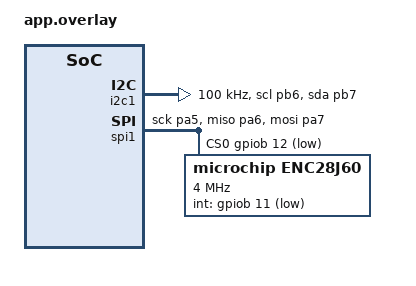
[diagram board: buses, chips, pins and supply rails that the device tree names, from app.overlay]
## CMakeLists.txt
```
cmake_minimum_required(VERSION 3.20.0)

find_package(Zephyr REQUIRED HINTS $ENV{ZEPHYR_BASE})
project(eco_connect_gateway)

target_include_directories(app PRIVATE include)

target_sources(app PRIVATE
	src/main.c
	src/bme280_sensor.c
	src/enc28j60_spi.c
	src/http_server.c
)
```

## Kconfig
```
menu "EcoConnect Application"

module = APP_MAIN
module-str = app_main
source "subsys/logging/Kconfig.template.log_config"

module = BME280_MOD
module-str = bme280_sensor
source "subsys/logging/Kconfig.template.log_config"

module = ENC_SPI_MOD
module-str = enc28j60_spi
source "subsys/logging/Kconfig.template.log_config"

module = HTTP_SRV_MOD
module-str = http_srv
source "subsys/logging/Kconfig.template.log_config"

endmenu

source "Kconfig.zephyr"
```

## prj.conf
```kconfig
# ==============================================================================
# EcoConnect IoT Gateway - Week 2 Configuration (Logging + I2C + SPI + TCP/IP)
# ==============================================================================

# General Kernel & UART Console
CONFIG_PRINTK=y
CONFIG_EARLY_CONSOLE=y
CONFIG_UART_CONSOLE=y

# G7: Zephyr Logging Subsystem over UART with Per-Module Levels
CONFIG_LOG=y
CONFIG_LOG_MODE_DEFERRED=y
CONFIG_LOG_DEFAULT_LEVEL=3
CONFIG_APP_MAIN_LOG_LEVEL_INF=y
CONFIG_BME280_MOD_LOG_LEVEL_INF=y
CONFIG_ENC_SPI_MOD_LOG_LEVEL_INF=y
CONFIG_HTTP_SRV_MOD_LOG_LEVEL_DBG=y

# Protocol Drivers (I2C + SPI + RNG for TCP/DHCP)
CONFIG_GPIO=y
CONFIG_I2C=y
CONFIG_SPI=y
CONFIG_TEST_RANDOM_GENERATOR=y

# M3: ENC28J60 Zephyr Ethernet Driver
CONFIG_NETWORKING=y
CONFIG_NET_L2_ETHERNET=y
CONFIG_ETH_DRIVER=y
CONFIG_ETH_ENC28J60=y
CONFIG_ETH_ENC28J60_RX_THREAD_STACK_SIZE=2048
CONFIG_NET_MGMT=y
CONFIG_NET_MGMT_EVENT=y
CONFIG_SYSTEM_WORKQUEUE_STACK_SIZE=2048

# M4: TCP/IP Stack + DHCPv4 + BSD Sockets + Net Shell
CONFIG_NET_IPV4=y
CONFIG_NET_DHCPV4=y
CONFIG_NET_TCP=y
CONFIG_NET_SOCKETS=y
CONFIG_NET_TX_STACK_SIZE=2048
CONFIG_NET_RX_STACK_SIZE=2048
CONFIG_NET_PKT_RX_COUNT=8
CONFIG_NET_PKT_TX_COUNT=8
CONFIG_NET_BUF_RX_COUNT=16
CONFIG_NET_BUF_TX_COUNT=16

# Interactive Console Shell & Network Commands (net iface, net ping)
CONFIG_SHELL=y
CONFIG_NET_SHELL=y

# Main Stack Size
CONFIG_MAIN_STACK_SIZE=4096
```

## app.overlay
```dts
/*
 * EcoConnect IoT Gateway - Devicetree Hardware Overlay
 * Target: STM32F407G-DISC1 (MB997)
 *
 * Pin-Choice Notes (Task 24.DT):
 *  - I2C1: PB6 (SCL), PB7 (SDA) -> Header P1, AF4, standard 100 kHz for BMP/BME280.
 *  - SPI1: PA5 (SCK), PA6 (MISO), PA7 (MOSI) -> Header P1, AF5, 4 MHz breadboard-safe.
 *  - ENC28J60 CS:  PB12 (GPIO_ACTIVE_LOW) -> Header P2, free GPIO next to SPI2/I2C2 area.
 *  - ENC28J60 INT: PB11 (GPIO_ACTIVE_LOW) -> Header P1/P2, free EXTI11 line for RX IRQ.
 */

/* Enable I2C1 Bus on PB6 (SCL) and PB7 (SDA) */
&i2c1 {
	status = "okay";
	pinctrl-0 = <&i2c1_scl_pb6 &i2c1_sda_pb7>;
	pinctrl-names = "default";
	clock-frequency = <I2C_BITRATE_STANDARD>;
};

/* Enable SPI1 Bus on PA5 (SCK), PA6 (MISO), PA7 (MOSI) with CS on PB12 */
&spi1 {
	status = "okay";
	pinctrl-0 = <&spi1_sck_pa5 &spi1_miso_pa6 &spi1_mosi_pa7>;
	pinctrl-names = "default";
	cs-gpios = <&gpiob 12 GPIO_ACTIVE_LOW>;

	enc28j60: enc28j60@0 {
		compatible = "microchip,enc28j60";
		reg = <0>;
		spi-max-frequency = <4000000>;
		int-gpios = <&gpiob 11 GPIO_ACTIVE_LOW>;
		local-mac-address = [ 02 00 00 11 22 33 ];
		status = "okay";
	};
};
```

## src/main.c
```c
/*
 * EcoConnect IoT Gateway - Week 2 Stage 2 (ENC28J60 Zephyr Driver + TCP/IP + HTTP)
 * Target: STM32F407G-DISC1 (ARM Cortex-M4 @ 168 MHz)
 */

#include <zephyr/kernel.h>
#include <zephyr/device.h>
#include <zephyr/drivers/gpio.h>
#include <zephyr/logging/log.h>
#include <zephyr/net/net_if.h>
#include <zephyr/net/net_core.h>
#include <zephyr/net/net_context.h>
#include <zephyr/net/net_mgmt.h>
#include <zephyr/net/dhcpv4.h>

#include "bme280_sensor.h"
#if !defined(CONFIG_ETH_ENC28J60)
#include "enc28j60_spi.h"
#endif
#include "http_server.h"

LOG_MODULE_REGISTER(app_main, CONFIG_APP_MAIN_LOG_LEVEL);

#define SAMPLE_PERIOD_MS 2000

static const struct gpio_dt_spec led_green  = GPIO_DT_SPEC_GET(DT_NODELABEL(green_led_4), gpios);
static const struct gpio_dt_spec led_orange = GPIO_DT_SPEC_GET(DT_NODELABEL(orange_led_3), gpios);
static const struct gpio_dt_spec led_red    = GPIO_DT_SPEC_GET(DT_NODELABEL(red_led_5), gpios);
static const struct gpio_dt_spec led_blue   = GPIO_DT_SPEC_GET(DT_NODELABEL(blue_led_6), gpios);

static struct net_mgmt_event_callback mgmt_cb;

static void net_event_handler(struct net_mgmt_event_callback *cb,
			      uint64_t mgmt_event, struct net_if *iface)
{
	ARG_UNUSED(cb);

	if (mgmt_event == NET_EVENT_IF_UP) {
		LOG_INF("Ethernet interface UP (Carrier detected)");
		gpio_pin_set_dt(&led_orange, 1);
		return;
	}

	if (mgmt_event == NET_EVENT_IF_DOWN) {
		LOG_WRN("Ethernet interface DOWN (Carrier lost)");
		gpio_pin_set_dt(&led_orange, 0);
		return;
	}

	if (mgmt_event == NET_EVENT_IPV4_ADDR_ADD) {
		char buf[NET_IPV4_ADDR_LEN];

		for (int i = 0; i < NET_IF_MAX_IPV4_ADDR; i++) {
			struct net_if_addr *if_addr = &iface->config.ip.ipv4->unicast[i].ipv4;

			if (if_addr->addr_type != NET_ADDR_DHCP) {
				continue;
			}

			LOG_INF("DHCPv4 IPv4 Address: %s",
				net_addr_ntop(AF_INET, &if_addr->address.in_addr,
					      buf, sizeof(buf)));
			LOG_INF("DHCPv4 Netmask:      %s",
				net_addr_ntop(AF_INET,
					      &iface->config.ip.ipv4->unicast[i].netmask,
					      buf, sizeof(buf)));
			LOG_INF("DHCPv4 Gateway:      %s",
				net_addr_ntop(AF_INET, &iface->config.ip.ipv4->gw,
					      buf, sizeof(buf)));
		}
	}
}

int main(void)
{
	gpio_pin_configure_dt(&led_green, GPIO_OUTPUT_INACTIVE);
	gpio_pin_configure_dt(&led_orange, GPIO_OUTPUT_INACTIVE);
	gpio_pin_configure_dt(&led_red, GPIO_OUTPUT_INACTIVE);
	gpio_pin_configure_dt(&led_blue, GPIO_OUTPUT_INACTIVE);

	const struct device *const i2c_dev = DEVICE_DT_GET(DT_NODELABEL(i2c1));

	LOG_INF("=== EcoConnect Gateway Booting (STM32F407G-DISC1) ===");

#if !defined(CONFIG_ETH_ENC28J60)
	const struct device *const spi_dev = DEVICE_DT_GET(DT_NODELABEL(spi1));
	uint8_t enc_rev = 0;
	bool enc_ok = (enc28j60_spi_probe_version(spi_dev, &enc_rev) == 0);
	gpio_pin_set_dt(&led_orange, enc_ok ? 1 : 0);
#else
	/* Zephyr's eth_enc28j60 driver owns SPI1 and initializes ENC28J60 at boot */
	net_mgmt_init_event_callback(&mgmt_cb, net_event_handler,
				     NET_EVENT_IF_UP | NET_EVENT_IF_DOWN |
				     NET_EVENT_IPV4_ADDR_ADD);
	net_mgmt_add_event_callback(&mgmt_cb);

	struct net_if *iface = net_if_get_default();
	if (iface != NULL) {
		if (net_if_is_carrier_ok(iface)) {
			LOG_INF("ENC28J60 Link UP at boot");
			gpio_pin_set_dt(&led_orange, 1);
		} else {
			LOG_INF("ENC28J60 initialized, waiting for Ethernet link...");
		}
		net_dhcpv4_start(iface);
	} else {
		LOG_ERR("No default network interface found!");
		gpio_pin_set_dt(&led_red, 1);
	}

	http_server_start();
#endif

	uint8_t bme_id = 0;
	bool bme_ok = (bme280_sensor_init(i2c_dev, &bme_id) == 0);
	gpio_pin_set_dt(&led_blue, bme_ok ? 1 : 0);

	while (1) {
		gpio_pin_toggle_dt(&led_green);

		if (bme_ok) {
			int32_t temp_c_x100 = 0;
			if (bme280_sensor_read_temp(i2c_dev, &temp_c_x100) == 0) {
				http_server_set_temp_x100(temp_c_x100);
			}
		}

		k_msleep(SAMPLE_PERIOD_MS);
	}

	return 0;
}
```

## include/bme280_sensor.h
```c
#ifndef BME280_SENSOR_H
#define BME280_SENSOR_H

#include <stdint.h>
#include <zephyr/device.h>

/**
 * @brief Initialize BME280 on the given I2C bus (auto-detects 0x76 or 0x77),
 *        verifies Chip ID, reads factory temperature calibration trims, and
 *        places the sensor in Normal sampling mode.
 *
 * @param i2c_dev Pointer to ready Zephyr I2C device.
 * @param chip_id_out Optional output pointer for the detected Chip ID (0x60).
 * @return 0 on success, negative errno on failure.
 */
int bme280_sensor_init(const struct device *i2c_dev, uint8_t *chip_id_out);

/**
 * @brief Read and compensate ambient temperature from BME280.
 *
 * @param i2c_dev Pointer to ready Zephyr I2C device.
 * @param temp_c_x100 Output temperature in hundredths of deg C (e.g. 2435 = 24.35 C).
 * @return 0 on success, negative errno on failure.
 */
int bme280_sensor_read_temp(const struct device *i2c_dev, int32_t *temp_c_x100);

#endif /* BME280_SENSOR_H */
```

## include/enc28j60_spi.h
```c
#ifndef ENC28J60_SPI_H
#define ENC28J60_SPI_H

#include <stdint.h>
#include <zephyr/device.h>

/**
 * @brief Soft-reset ENC28J60 over SPI1, switch to Bank 3, and read silicon
 *        revision ID (EREVID register 0x12).
 *
 * @param spi_dev Pointer to ready Zephyr SPI1 device.
 * @param rev_id_out Output pointer for EREVID byte.
 * @return 0 on valid revision ID (0x01..0xFE), negative errno on failure.
 */
int enc28j60_spi_probe_version(const struct device *spi_dev, uint8_t *rev_id_out);

#endif /* ENC28J60_SPI_H */
```

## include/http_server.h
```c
#ifndef HTTP_SERVER_H
#define HTTP_SERVER_H

#include <stdint.h>

/**
 * @brief Update the latest temperature (in hundredths of deg C) displayed on
 *        the static EcoConnect status page.
 */
void http_server_set_temp_x100(int32_t temp_c_x100);

/**
 * @brief Start the lightweight TCP/HTTP static web server on port 80.
 */
void http_server_start(void);

#endif /* HTTP_SERVER_H */
```

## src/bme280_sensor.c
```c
#include "bme280_sensor.h"

#include <errno.h>
#include <zephyr/drivers/i2c.h>
#include <zephyr/kernel.h>
#include <zephyr/logging/log.h>

LOG_MODULE_REGISTER(bme280_sensor, CONFIG_BME280_MOD_LOG_LEVEL);

#define BME280_ADDR_PRIMARY 0x76
#define BME280_ADDR_SECONDARY 0x77
#define BME280_CHIP_ID_BME280 0x60
#define BME280_CHIP_ID_BMP280 0x58

#define BME280_REG_DIG_T1 0x88
#define BME280_REG_CHIP_ID 0xD0
#define BME280_REG_CTRL_MEAS 0xF4
#define BME280_REG_TEMP_MSB 0xFA

/* osrs_t = 001 (1x), osrs_p = 001 (1x), mode = 11 (Normal) */
#define BME280_CTRL_MEAS_TEMP_NORMAL 0x27

struct bme280_calib_t {
  uint16_t dig_T1;
  int16_t dig_T2;
  int16_t dig_T3;
};

static uint8_t g_active_addr = BME280_ADDR_PRIMARY;
static struct bme280_calib_t g_calib;

int bme280_sensor_init(const struct device *i2c_dev, uint8_t *chip_id_out) {
  uint8_t reg = BME280_REG_CHIP_ID;
  uint8_t id = 0;
  int ret;

  if (!device_is_ready(i2c_dev)) {
    LOG_ERR("I2C1 device not ready");
    return -ENODEV;
  }

  ret = i2c_write_read(i2c_dev, BME280_ADDR_PRIMARY, &reg, 1, &id, 1);
  if (ret == 0) {
    g_active_addr = BME280_ADDR_PRIMARY;
  } else {
    ret = i2c_write_read(i2c_dev, BME280_ADDR_SECONDARY, &reg, 1, &id, 1);
    if (ret != 0) {
      LOG_ERR("BME280 not found on 0x76 or 0x77 (err=%d)", ret);
      return ret;
    }
    g_active_addr = BME280_ADDR_SECONDARY;
  }

  if (chip_id_out != NULL) {
    *chip_id_out = id;
  }

  if (id != BME280_CHIP_ID_BME280 && id != BME280_CHIP_ID_BMP280) {
    LOG_WRN("Unexpected chip ID 0x%02X at 0x%02X", id, g_active_addr);
    return -EINVAL;
  }

  /* Read 6 bytes of factory temperature calibration (dig_T1, dig_T2, dig_T3) */
  uint8_t trim_reg = BME280_REG_DIG_T1;
  uint8_t trim[6] = {0};

  ret =
      i2c_write_read(i2c_dev, g_active_addr, &trim_reg, 1, trim, sizeof(trim));
  if (ret != 0) {
    LOG_ERR("Failed to read calibration trims (err=%d)", ret);
    return ret;
  }

  g_calib.dig_T1 = (uint16_t)(((uint16_t)trim[1] << 8) | trim[0]);
  g_calib.dig_T2 = (int16_t)(((uint16_t)trim[3] << 8) | trim[2]);
  g_calib.dig_T3 = (int16_t)(((uint16_t)trim[5] << 8) | trim[4]);

  /* Soft reset sensor to ensure clean register state */
  (void)i2c_reg_write_byte(i2c_dev, g_active_addr, 0xE0, 0xB6);
  k_msleep(10);

  /* Configure standby 0.5ms / IIR off, then Normal mode (0xF4 = 0x27) */
  (void)i2c_reg_write_byte(i2c_dev, g_active_addr, 0xF5, 0x00);
  ret = i2c_reg_write_byte(i2c_dev, g_active_addr, BME280_REG_CTRL_MEAS,
                           BME280_CTRL_MEAS_TEMP_NORMAL);
  if (ret != 0) {
    LOG_ERR("Failed to configure ctrl_meas (err=%d)", ret);
    return ret;
  }

  uint8_t ctrl_imm = 0;
  (void)i2c_reg_read_byte(i2c_dev, g_active_addr, BME280_REG_CTRL_MEAS,
                          &ctrl_imm);

  k_msleep(50); /* Allow first Normal-mode ADC conversion to complete */

  uint8_t ctrl_rb = 0;
  uint8_t stat_rb = 0;
  (void)i2c_reg_read_byte(i2c_dev, g_active_addr, BME280_REG_CTRL_MEAS,
                          &ctrl_rb);
  (void)i2c_reg_read_byte(i2c_dev, g_active_addr, 0xF3, &stat_rb);

  LOG_INF("BMP/BME280 init @0x%02X (ID:0x%02X, imm:0x%02X, after50ms:0x%02X, "
          "stat:0x%02X)",
          g_active_addr, id, ctrl_imm, ctrl_rb, stat_rb);
  LOG_DBG("Trims: T1=%u, T2=%d, T3=%d", g_calib.dig_T1, g_calib.dig_T2,
          g_calib.dig_T3);
  return 0;
}

int bme280_sensor_read_temp(const struct device *i2c_dev,
                            int32_t *temp_c_x100) {
  uint8_t reg = BME280_REG_TEMP_MSB;
  uint8_t raw[3] = {0};
  int ret;

  if (temp_c_x100 == NULL) {
    return -EINVAL;
  }

  ret = i2c_write_read(i2c_dev, g_active_addr, &reg, 1, raw, sizeof(raw));
  if (ret != 0) {
    LOG_ERR("I2C temp read failed (err=%d)", ret);
    return ret;
  }

  /* 20-bit unsigned raw ADC temperature */
  int32_t adc_t =
      ((int32_t)raw[0] << 12) | ((int32_t)raw[1] << 4) | ((int32_t)raw[2] >> 4);

  /* Bosch BME280 datasheet 32-bit integer compensation formula */
  int32_t var1 = ((((adc_t >> 3) - ((int32_t)g_calib.dig_T1 << 1))) *
                  ((int32_t)g_calib.dig_T2)) >>
                 11;
  int32_t var2 = (((((adc_t >> 4) - ((int32_t)g_calib.dig_T1)) *
                    ((adc_t >> 4) - ((int32_t)g_calib.dig_T1))) >>
                   12) *
                  ((int32_t)g_calib.dig_T3)) >>
                 14;
  int32_t t_fine = var1 + var2;
  int32_t temp = (t_fine * 5 + 128) >> 8;

  *temp_c_x100 = temp;
  LOG_INF("Temperature: %d.%02d C (raw_adc=0x%05X)", temp / 100,
          (temp < 0 ? -temp : temp) % 100, (uint32_t)adc_t);
  return 0;
}
```

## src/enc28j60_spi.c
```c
#include "enc28j60_spi.h"

#include <zephyr/kernel.h>
#include <zephyr/drivers/gpio.h>
#include <zephyr/drivers/spi.h>
#include <zephyr/logging/log.h>

LOG_MODULE_REGISTER(enc28j60_spi, CONFIG_ENC_SPI_MOD_LOG_LEVEL);

#define ENC_SOFT_RESET     0xFF
#define ENC_CMD_BFS        0x80  /* Bit Field Set: 100xxxxx */
#define ENC_CMD_RCR        0x00  /* Read Control Register: 000xxxxx */
#define ENC_REG_ECON1      0x1F  /* Control Register 1 (common to all banks) */
#define ENC_REG_EREVID     0x12  /* Silicon Revision ID in Bank 3 */

static const struct gpio_dt_spec enc_cs = {
	.port = DEVICE_DT_GET(DT_NODELABEL(gpiob)),
	.pin = 12,
	.dt_flags = GPIO_ACTIVE_LOW
};

static const struct spi_config spi_cfg = {
	.frequency = 1000000, /* 1 MHz for reliable breadboard signal integrity */
	.operation = SPI_OP_MODE_MASTER | SPI_WORD_SET(8) | SPI_TRANSFER_MSB,
	.slave = 0,
};

int enc28j60_spi_probe_version(const struct device *spi_dev, uint8_t *rev_id_out)
{
	uint8_t tx_buf[2];
	uint8_t rx_buf[2];
	struct spi_buf tx_sbuf = { .buf = tx_buf, .len = 1 };
	struct spi_buf rx_sbuf = { .buf = rx_buf, .len = 2 };
	struct spi_buf_set tx_set = { .buffers = &tx_sbuf, .count = 1 };
	struct spi_buf_set rx_set = { .buffers = &rx_sbuf, .count = 1 };
	int ret;

	if (!device_is_ready(spi_dev) || !gpio_is_ready_dt(&enc_cs)) {
		LOG_ERR("SPI1 or CS GPIO not ready");
		return -ENODEV;
	}

	gpio_pin_configure_dt(&enc_cs, GPIO_OUTPUT_INACTIVE);
	k_msleep(50); /* Allow ENC28J60 25 MHz crystal and VCAP to stabilize after boot */

	/* 1. Soft Reset (0xFF) */
	tx_buf[0] = ENC_SOFT_RESET;
	tx_sbuf.len = 1;
	gpio_pin_set_dt(&enc_cs, 1);
	ret = spi_write(spi_dev, &spi_cfg, &tx_set);
	gpio_pin_set_dt(&enc_cs, 0);
	if (ret != 0) {
		LOG_ERR("SPI soft reset failed (err=%d)", ret);
		return ret;
	}
	LOG_DBG("Sent ENC28J60 Soft Reset (0xFF), waiting 2 ms for OST");
	k_msleep(2);

	/* 2. Select Bank 3 via ECON1[1:0] = 0b11 */
	tx_buf[0] = (uint8_t)(ENC_CMD_BFS | ENC_REG_ECON1);
	tx_buf[1] = 0x03;
	tx_sbuf.len = 2;
	gpio_pin_set_dt(&enc_cs, 1);
	ret = spi_write(spi_dev, &spi_cfg, &tx_set);
	gpio_pin_set_dt(&enc_cs, 0);
	if (ret != 0) {
		LOG_ERR("SPI Bank 3 select failed (err=%d)", ret);
		return ret;
	}
	LOG_DBG("Selected Bank 3 via ECON1 BFS (0x%02X 0x03)", tx_buf[0]);

	/* 3. Read EREVID (0x12 in Bank 3) */
	tx_buf[0] = (uint8_t)(ENC_CMD_RCR | ENC_REG_EREVID);
	tx_buf[1] = 0x00;
	tx_sbuf.len = 2;
	rx_buf[0] = 0;
	rx_buf[1] = 0;

	gpio_pin_set_dt(&enc_cs, 1);
	ret = spi_transceive(spi_dev, &spi_cfg, &tx_set, &rx_set);
	gpio_pin_set_dt(&enc_cs, 0);
	if (ret != 0) {
		LOG_ERR("SPI EREVID read failed (err=%d)", ret);
		return ret;
	}

	uint8_t rev = rx_buf[1];
	LOG_DBG("SPI RX bytes: [0]=0x%02X, [1]=0x%02X", rx_buf[0], rx_buf[1]);

	if (rev == 0x00 || rev == 0xFF) {
		LOG_ERR("Invalid ENC28J60 EREVID=0x%02X (check MISO/CS wiring)", rev);
		return -EIO;
	}

	if (rev_id_out != NULL) {
		*rev_id_out = rev;
	}

	LOG_INF("ENC28J60 Silicon Rev ID (EREVID): 0x%02X", rev);
	return 0;
}
```

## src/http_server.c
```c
#include "http_server.h"

#include <stdio.h>
#include <string.h>
#include <zephyr/kernel.h>
#include <zephyr/logging/log.h>
#include <zephyr/net/socket.h>

LOG_MODULE_REGISTER(http_srv, CONFIG_HTTP_SRV_MOD_LOG_LEVEL);

#define HTTP_PORT        80
#define HTTP_STACK_SIZE  4096
#define HTTP_PRIORITY    7

static volatile int32_t g_latest_temp_x100 = 0;

void http_server_set_temp_x100(int32_t temp_c_x100)
{
	g_latest_temp_x100 = temp_c_x100;
}

static void http_server_thread(void *p1, void *p2, void *p3)
{
	ARG_UNUSED(p1);
	ARG_UNUSED(p2);
	ARG_UNUSED(p3);

	int srv_sock = zsock_socket(AF_INET, SOCK_STREAM, IPPROTO_TCP);
	if (srv_sock < 0) {
		LOG_ERR("Failed to create TCP socket (err=%d)", errno);
		return;
	}

	struct sockaddr_in bind_addr = {
		.sin_family = AF_INET,
		.sin_addr.s_addr = htonl(INADDR_ANY),
		.sin_port = htons(HTTP_PORT),
	};

	if (zsock_bind(srv_sock, (struct sockaddr *)&bind_addr, sizeof(bind_addr)) < 0) {
		LOG_ERR("TCP bind on port %d failed (err=%d)", HTTP_PORT, errno);
		zsock_close(srv_sock);
		return;
	}

	if (zsock_listen(srv_sock, 2) < 0) {
		LOG_ERR("TCP listen failed (err=%d)", errno);
		zsock_close(srv_sock);
		return;
	}

	LOG_INF("HTTP server listening on TCP port %d", HTTP_PORT);

	while (1) {
		struct sockaddr_in client_addr;
		socklen_t client_len = sizeof(client_addr);
		int client = zsock_accept(srv_sock, (struct sockaddr *)&client_addr, &client_len);
		if (client < 0) {
			LOG_WRN("zsock_accept error (err=%d)", errno);
			k_msleep(100);
			continue;
		}

		char addr_str[NET_IPV4_ADDR_LEN] = {0};
		zsock_inet_ntop(AF_INET, &client_addr.sin_addr, addr_str, sizeof(addr_str));
		LOG_DBG("TCP client connected from %s:%u", addr_str, ntohs(client_addr.sin_port));

		char rx_buf[256];
		int rx_len = zsock_recv(client, rx_buf, sizeof(rx_buf) - 1, 0);
		if (rx_len > 0) {
			rx_buf[rx_len] = '\0';
			LOG_DBG("HTTP request (%d bytes) received", rx_len);
		}

		int32_t t = g_latest_temp_x100;
		int32_t whole = t / 100;
		int32_t frac = (t < 0 ? -t : t) % 100;

		char body[384];
		int body_len = snprintf(body, sizeof(body),
			"<!DOCTYPE html><html><head><title>EcoConnect Gateway</title>"
			"<meta charset=\"utf-8\"></head>"
			"<body style=\"font-family:sans-serif;margin:2rem;\">"
			"<h1>EcoConnect IoT Gateway</h1>"
			"<p><b>Platform:</b> STM32F407G-DISC1 + Zephyr RTOS</p>"
			"<p><b>Network:</b> Microchip ENC28J60 (SPI1) + TCP/IP</p>"
			"<p><b>Sensor Temp:</b> %d.%02d &deg;C</p>"
			"<p><b>Status:</b> Link Active</p>"
			"</body></html>",
			whole, frac);

		char hdr[160];
		int hdr_len = snprintf(hdr, sizeof(hdr),
			"HTTP/1.1 200 OK\r\n"
			"Content-Type: text/html\r\n"
			"Content-Length: %d\r\n"
			"Connection: close\r\n\r\n",
			body_len);

		zsock_send(client, hdr, hdr_len, 0);
		zsock_send(client, body, body_len, 0);
		zsock_close(client);
	}
}

K_THREAD_STACK_DEFINE(http_srv_stack, HTTP_STACK_SIZE);
static struct k_thread http_srv_thread_data;

void http_server_start(void)
{
	k_thread_create(&http_srv_thread_data, http_srv_stack,
			K_THREAD_STACK_SIZEOF(http_srv_stack),
			http_server_thread, NULL, NULL, NULL,
			HTTP_PRIORITY, 0, K_NO_WAIT);
	k_thread_name_set(&http_srv_thread_data, "http_srv");
}
```
